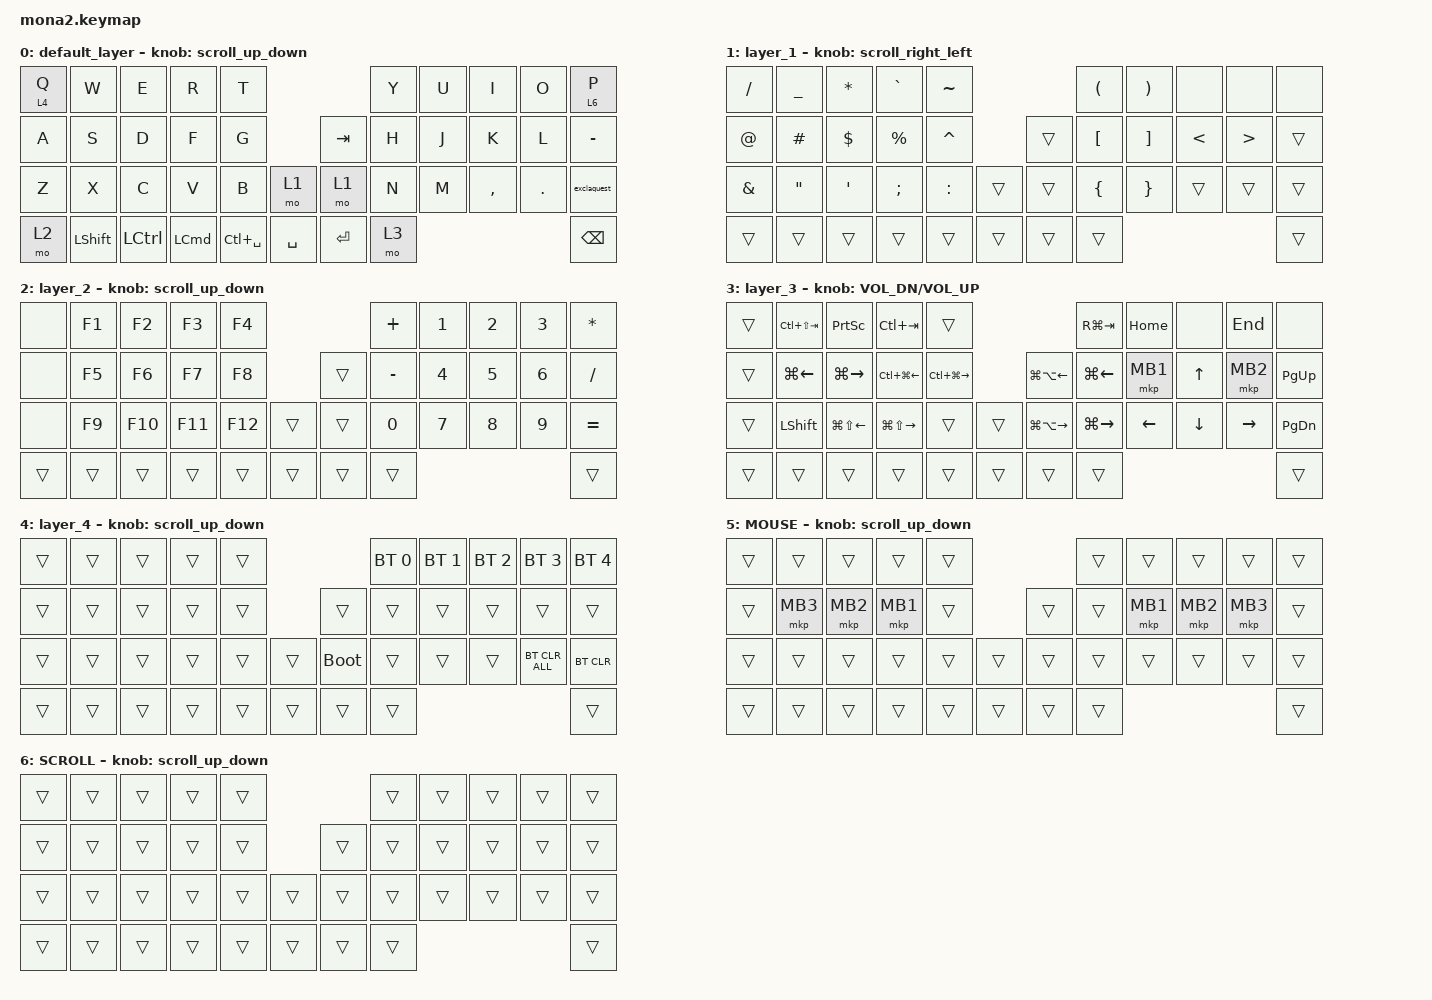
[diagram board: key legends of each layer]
#include <input/processors.dtsi>
#include <dt-bindings/zmk/input_transform.h>
#include <zephyr/dt-bindings/input/input-event-codes.h>
#include <behaviors.dtsi>
#include <dt-bindings/zmk/bt.h>
#include <dt-bindings/zmk/keys.h>
#include <dt-bindings/zmk/pointing.h>

#define ZMK_POINTING_DEFAULT_SCRL_VAL 100
#define MOUSE 5
#define SCROLL 6

&mt {
    flavor = "balanced";
    quick-tap-ms = <0>;
};

&lt {
    quick-tap-ms = <300>;
    flavor = "balanced";
};

/ {
    combos {
        compatible = "zmk,combos";

        delete {
            bindings = <&kp BACKSPACE>;
            key-positions = <8 9>;
            timeout-ms = <350>;
        };
    };

    behaviors {
        scroll_up_down: mouse_wheel_up_down {
            compatible = "zmk,behavior-sensor-rotate";
            #sensor-binding-cells = <0>;
            bindings = <&msc SCRL_DOWN>, <&msc SCRL_UP>;

            tap-ms = <20>;
        };

        scroll_right_left: mouse_wheel_right_left {
            compatible = "zmk,behavior-sensor-rotate";
            #sensor-binding-cells = <0>;
            bindings = <&msc SCRL_LEFT>, <&msc SCRL_RIGHT>;

            tap-ms = <20>;
        };

        exclaquest: exclaquest {
            compatible = "zmk,behavior-tap-dance";
            label = "EXCLAQUEST";
            #binding-cells = <0>;
            bindings = <&kp EXCLAMATION>, <&kp QUESTION>;
        };
    };

    keymap {
        compatible = "zmk,keymap";

        default_layer {
            bindings = <
&lt 4 Q  &kp W           &kp E      &kp R             &kp T                                  &kp Y  &kp U  &kp I      &kp O    &lt 6 P
&kp A    &kp S           &kp D      &kp F             &kp G                       &kp TAB    &kp H  &kp J  &kp K      &kp L    &kp MINUS
&kp Z    &kp X           &kp C      &kp V             &kp B          &mo 1        &mo 1      &kp N  &kp M  &kp COMMA  &kp DOT  &exclaquest
&mo 2    &kp LEFT_SHIFT  &kp LCTRL  &kp LEFT_COMMAND  &kp LC(SPACE)  &kp SPACE    &kp ENTER  &mo 3                             &kp BACKSPACE
            >;

            sensor-bindings = <&scroll_up_down>;
        };

        layer_1 {
            bindings = <
&kp SLASH      &kp UNDERSCORE     &kp ASTERISK      &kp GRAVE      &kp TILDE                    &kp LEFT_PARENTHESIS  &kp RIGHT_PARENTHESIS  &none          &none             &none
&kp AT_SIGN    &kp HASH           &kp DOLLAR        &kp PERCENT    &kp CARET            &trans  &kp LEFT_BRACKET      &kp RIGHT_BRACKET      &kp LESS_THAN  &kp GREATER_THAN  &trans
&kp AMPERSAND  &kp DOUBLE_QUOTES  &kp SINGLE_QUOTE  &kp SEMICOLON  &kp COLON  &trans    &trans  &kp LEFT_BRACE        &kp RIGHT_BRACE        &trans         &trans            &trans
&trans         &trans             &trans            &trans         &trans     &trans    &trans  &trans                                                                        &trans
            >;

            sensor-bindings = <&scroll_right_left>;
        };

        layer_2 {
            bindings = <
&none   &kp F1  &kp F2   &kp F3   &kp F4                     &kp PLUS      &kp NUMBER_1  &kp NUMBER_2  &kp NUMBER_3  &kp ASTERISK
&none   &kp F5  &kp F6   &kp F7   &kp F8             &trans  &kp MINUS     &kp NUMBER_4  &kp NUMBER_5  &kp NUMBER_6  &kp SLASH
&none   &kp F9  &kp F10  &kp F11  &kp F12  &trans    &trans  &kp NUMBER_0  &kp NUMBER_7  &kp NUMBER_8  &kp NUMBER_9  &kp EQUAL
&trans  &trans  &trans   &trans   &trans   &trans    &trans  &trans                                                  &trans
            >;

            sensor-bindings = <&scroll_up_down>;
        };

        layer_3 {
            bindings = <
&trans  &kp LC(LS(TAB))     &kp PRINTSCREEN         &kp LC(TAB)              &trans                                                &kp RG(TAB)         &kp HOME  &none         &kp END    &none
&trans  &kp LG(LEFT_ARROW)  &kp LG(RIGHT_ARROW)     &kp LC(LG(LEFT_ARROW))   &kp LC(LG(RIGHT_ARROW))            &kp LG(LA(LEFT))   &kp LG(LEFT_ARROW)  &mkp MB1  &kp UP_ARROW  &mkp MB2   &kp PG_UP
&trans  &kp LEFT_SHIFT      &kp LG(LS(LEFT_ARROW))  &kp LG(LS(RIGHT_ARROW))  &trans                   &trans    &kp LG(LA(RIGHT))  &kp LG(RIGHT)       &kp LEFT  &kp DOWN      &kp RIGHT  &kp PG_DN
&trans  &trans              &trans                  &trans                   &trans                   &trans    &trans             &trans                                                 &trans
            >;

            sensor-bindings = <&inc_dec_kp C_VOL_DN C_VOL_UP>;
        };

        layer_4 {
            bindings = <
&trans  &trans  &trans  &trans  &trans                         &bt BT_SEL 0  &bt BT_SEL 1  &bt BT_SEL 2  &bt BT_SEL 3    &bt BT_SEL 4
&trans  &trans  &trans  &trans  &trans            &trans       &trans        &trans        &trans        &trans          &trans
&trans  &trans  &trans  &trans  &trans  &trans    &bootloader  &trans        &trans        &trans        &bt BT_CLR_ALL  &bt BT_CLR
&trans  &trans  &trans  &trans  &trans  &trans    &trans       &trans                                                    &trans
            >;

            sensor-bindings = <&scroll_up_down>;
        };

        MOUSE {
            bindings = <
&trans  &trans    &trans    &trans    &trans                    &trans  &trans    &trans    &trans    &trans
&trans  &mkp MB3  &mkp MB2  &mkp MB1  &trans            &trans  &trans  &mkp MB1  &mkp MB2  &mkp MB3  &trans
&trans  &trans    &trans    &trans    &trans  &trans    &trans  &trans  &trans    &trans    &trans    &trans
&trans  &trans    &trans    &trans    &trans  &trans    &trans  &trans                                &trans
            >;

            sensor-bindings = <&scroll_up_down>;
        };

        SCROLL {
            bindings = <
&trans  &trans  &trans  &trans  &trans                    &trans  &trans  &trans  &trans  &trans
&trans  &trans  &trans  &trans  &trans            &trans  &trans  &trans  &trans  &trans  &trans
&trans  &trans  &trans  &trans  &trans  &trans    &trans  &trans  &trans  &trans  &trans  &trans
&trans  &trans  &trans  &trans  &trans  &trans    &trans  &trans                          &trans
            >;

            sensor-bindings = <&scroll_up_down>;
        };
    };
};
